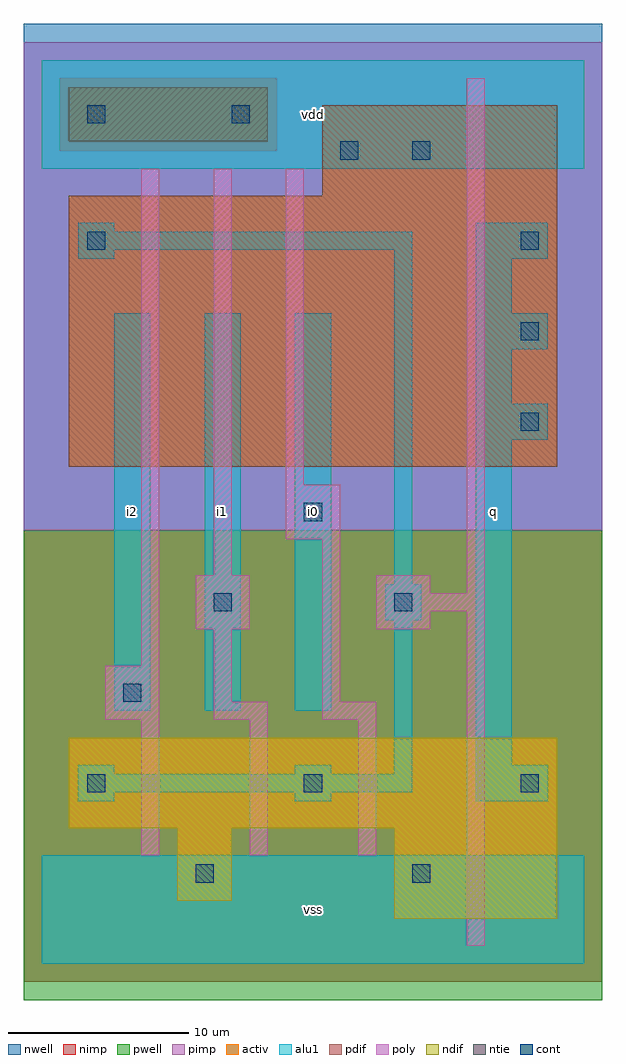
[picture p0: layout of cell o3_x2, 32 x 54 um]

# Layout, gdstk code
import gdstk
lib = gdstk.Library(unit=1e-6, precision=1e-09)
def R(c, l, rs):  # rectangles x0, y0, x1, y1
    for r in rs: c.add(gdstk.rectangle(r[:2], r[2:], *l))
def A(c, l, x, y, w, h, nx, ny, dx, dy):  # array of equal rectangles
    R(c, l, [(x+i*dx, y+j*dy, x+i*dx+w, y+j*dy+h) for i in range(nx) for j in range(ny)])
ndif = (3, 0)
pdif = (4, 0)
ntie = (5, 0)
cont = (25, 0)
pwell = (41, 0)
nwell = (42, 0)
activ = (43, 0)
pimp = (44, 0)
nimp = (45, 0)
poly = (46, 0)
alu1 = (49, 0)

o3_x2 = lib.new_cell('o3_x2')
R(o3_x2, ndif, [(19.5,2.5,28.5,7.5), (7.5,3.5,10.5,7.5), (1.5,7.5,28.5,12.5)])
R(o3_x2, pdif, [(1.5,27.5,28.5,42.5), (15.5,42.5,28.5,47.5)])
R(o3_x2, ntie, [(1.5,45.5,12.5,48.5)])
A(o3_x2, cont, 2.5, 9.5, 1, 1, 3, 1, 12, 0)
A(o3_x2, cont, 26.5, 29.5, 1, 1, 1, 3, 0, 5)
R(o3_x2, cont, [(8.5,4.5,9.5,5.5), (20.5,4.5,21.5,5.5), (4.5,14.5,5.5,15.5), (9.5,19.5,10.5,20.5), (19.5,19.5,20.5,20.5), (14.5,24.5,15.5,25.5), (2.5,39.5,3.5,40.5), (16.5,44.5,17.5,45.5), (20.5,44.5,21.5,45.5), (2.5,46.5,3.5,47.5), (10.5,46.5,11.5,47.5)])
R(o3_x2, pwell, [(-1,-2,31,24)])
R(o3_x2, nwell, [(-1,24,31,52)])
R(o3_x2, activ, [(19.5,2.5,28.5,7.5), (7.5,3.5,10.5,7.5), (1.5,7.5,28.5,12.5), (1.5,27.5,28.5,42.5), (15.5,42.5,28.5,47.5), (1.5,45.5,12.5,48.5)])
R(o3_x2, pimp, [(-1,24,31,45), (-1,45,1,49), (13,45,31,49), (-1,49,31,51)])
R(o3_x2, nimp, [(-1,-1,31,24), (1,45,13,49)])
A(o3_x2, poly, 5.5, 6, 1, 7.5, 3, 1, 6, 0)
R(o3_x2, poly, [(23.5,1,24.5,19.5), (3.5,13.5,6.5,16.5), (9.5,13.5,12.5,14.5), (15.5,13.5,18.5,14.5), (9.5,14.5,10.5,18.5), (15.5,14.5,16.5,23.5), (5.5,16.5,6.5,44), (8.5,18.5,11.5,21.5), (18.5,18.5,21.5,19.5), (18.5,19.5,24.5,20.5), (18.5,20.5,21.5,21.5), (23.5,20.5,24.5,49), (9.5,21.5,10.5,44), (13.5,23.5,16.5,26.5), (13.5,26.5,14.5,44)])
A(o3_x2, alu1, 4, 14, 2, 22, 3, 1, 5, 0)
A(o3_x2, alu1, 24, 29, 4, 2, 1, 3, 0, 5)
R(o3_x2, alu1, [(0,0,30,6), (2,9,4,9.5), (14,9,16,9.5), (24,9,28,11), (2,9.5,20.5,10.5), (2,10.5,4,11), (14,10.5,16,11), (19.5,10.5,20.5,19), (24,11,26,29), (19,19,21,21), (19.5,21,20.5,39.5), (24,31,26,34), (24,36,26,39), (2,39,4,39.5), (2,39.5,20.5,40.5), (2,40.5,4,41), (0,44,30,50)])
o3_x2.add(gdstk.Label('i2', (5,25), layer=49, texttype=0))
o3_x2.add(gdstk.Label('i1', (10,25), layer=49, texttype=0))
o3_x2.add(gdstk.Label('vss', (15,3), layer=49, texttype=0))
o3_x2.add(gdstk.Label('i0', (15,25), layer=49, texttype=0))
o3_x2.add(gdstk.Label('vdd', (15,47), layer=49, texttype=0))
o3_x2.add(gdstk.Label('q', (25,25), layer=49, texttype=0))

lib.write_gds('o3_x2.gds')
